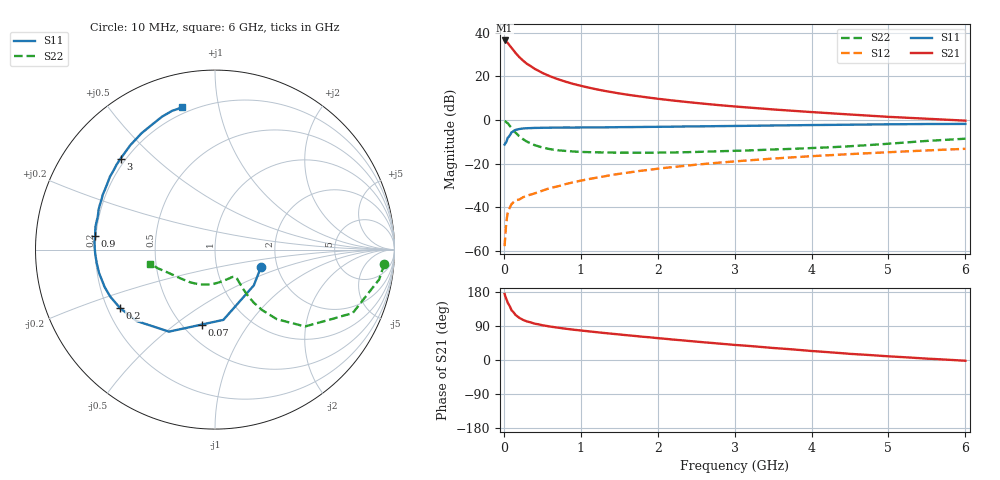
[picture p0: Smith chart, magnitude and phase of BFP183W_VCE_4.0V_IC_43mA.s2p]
! Infineon Technologies  Discrete & RF Semiconductors
! BFP183W
! VCE =  4.0 V,  IC =  43 mA
! Common Emitter S-Parameters:  Jan 2017
# GHz  S  MA  R  50
!  f  S11  S21  S12  S22
! GHz  MAG  ANG  MAG  ANG  MAG  ANG  MAG  ANG
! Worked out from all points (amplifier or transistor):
!   77 points, 10 MHz to 6 GHz, reference 50 ohm
!   highest |S21| = 36.4 dB at 10 MHz (marker M1)
!   |S21| within 3 dB of that: start of sweep to 90.82 MHz
!   unconditionally stable (mu >= 1): 675.1 MHz to 3.356 GHz
!   at 130 MHz: K = 0.39, MSG = 34.6 dB, |S12| = -37.5 dB
!   at 2.2 GHz: K = 1.07, MAG = 13.6 dB, |S12| = -21.5 dB
!   at 6 GHz: K = 0.86, MSG = 6.4 dB, |S12| = -13.2 dB
!   S11 on the Smith chart (normalised r, x): 10 MHz: 1.64, -0.35; 70 MHz: 0.62, -0.63; 200 MHz: 0.25, -0.27; 900 MHz: 0.20, +0.05; 3 GHz: 0.18, +0.39; 6 GHz: 0.17, +0.78
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0.01  0.2738 -21.1  65.95 174.3  0.0013 90.9  0.9469 -4.8
0.02  0.2942 -42.7  64.84 167.6  0.0024 84.6  0.9296 -10.3
0.05  0.3943 -83.2  58.08 151.1  0.0075 68.1  0.8446 -24.8
0.07  0.4243 -100.1  52.03 144.4  0.0092 62.7  0.7641 -30.2
0.1  0.5241 -119.3  44.72 131.2  0.0119 57.6  0.6596 -40.5
0.15  0.591 -137.7  34.55 119.3  0.0144 51.0  0.5181 -48.4
0.2  0.6214 -148.4  27.57 111.4  0.0152 50.4  0.4266 -52.1
0.25  0.6396 -155.8  22.8 105.8  0.0171 49.9  0.364 -53.9
0.3  0.6492 -161.2  19.31 101.8  0.0186 49.3  0.3198 -54.5
0.4  0.659 -168.6  14.81 95.9  0.0209 55.1  0.2654 -54.4
0.5  0.6633 -173.6  11.95 91.8  0.0241 56.8  0.2353 -53.7
0.6  0.6674 -177.6  10.02 88.3  0.0278 58.4  0.2154 -53.3
0.7  0.6701 179.4  8.604 85.4  0.0303 61.6  0.203 -52.8
0.9  0.6718 173.6  6.702 80.1  0.0374 63.8  0.1907 -53.6
1.1  0.678 169.1  5.513 75.7  0.0443 65.2  0.1841 -55.0
1.5  0.6859 161.0  4.054 67.4  0.0587 65.5  0.1789 -60.8
2.1  0.7003 150.2  2.922 55.9  0.0804 64.3  0.1801 -74.7
3  0.7304 136.1  2.038 39.8  0.1126 59.8  0.1972 -100.0
3.1  0.7332 134.7  1.976 38.4  0.1163 59.1  0.1993 -102.8
4.1  0.7688 121.1  1.48 22.4  0.152 52.7  0.2318 -129.8
5.1  0.7993 110.8  1.157 8.6  0.1867 46.0  0.2949 -154.6
6  0.8132 102.9  0.966 -2.0  0.2192 39.4  0.3732 -167.7
